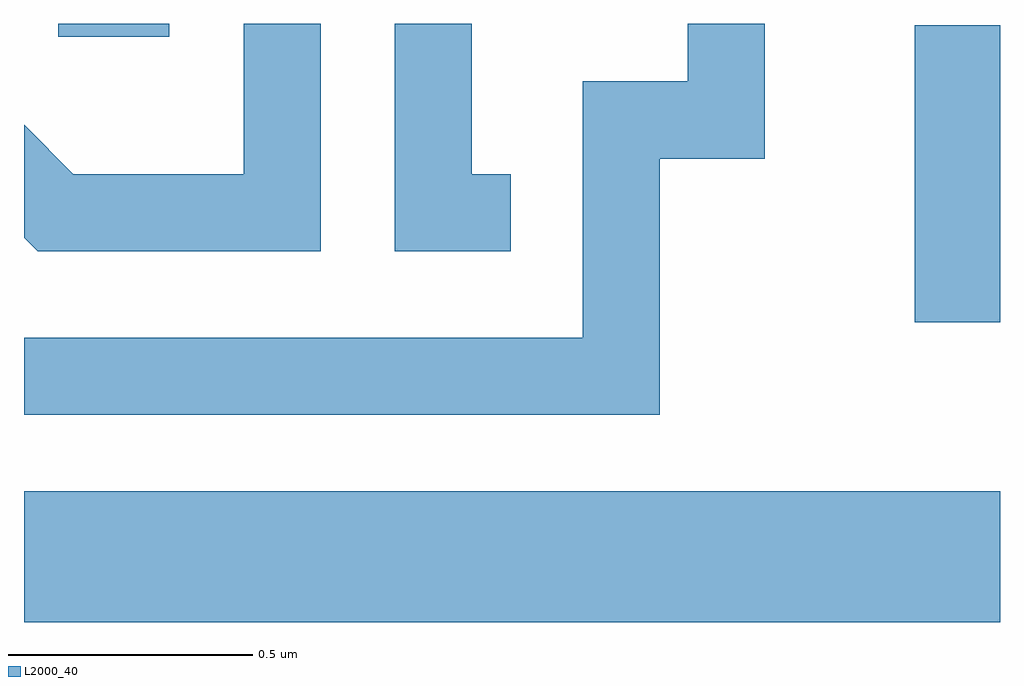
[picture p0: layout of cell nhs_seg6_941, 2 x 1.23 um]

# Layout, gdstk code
import gdstk
lib = gdstk.Library(unit=1e-6, precision=1e-09)
def R(c, l, rs):  # rectangles x0, y0, x1, y1
    for r in rs: c.add(gdstk.rectangle(r[:2], r[2:], *l))
def P(c, l, *ps):  # polygons
    for p in ps: c.add(gdstk.Polygon(p, *l))
L2000_40 = (2000, 40)

nhs_seg6_941 = lib.new_cell('nhs_seg6_941')
R(nhs_seg6_941, L2000_40, [(191.611,1649.936,193.611,1650.204), (193.436,1650.551,193.611,1651.159), (191.681,1651.136,191.909,1651.162)])
P(nhs_seg6_941, L2000_40, [(192.219,1651.162),(192.061,1651.162),(192.061,1650.854),(191.712,1650.854),(191.611,1650.955),(191.611,1650.724),(191.639,1650.696),(192.219,1650.696)],
  [(192.914,1650.886),(193.129,1650.886),(193.129,1651.162),(192.971,1651.162),(192.971,1651.044),(192.756,1651.044),(192.756,1650.519),(191.611,1650.519),(191.611,1650.361),(192.914,1650.361)],
  [(192.608,1650.854),(192.529,1650.854),(192.529,1651.162),(192.371,1651.162),(192.371,1650.696),(192.608,1650.696)])

lib.write_gds('nhs_seg6_941.gds')
